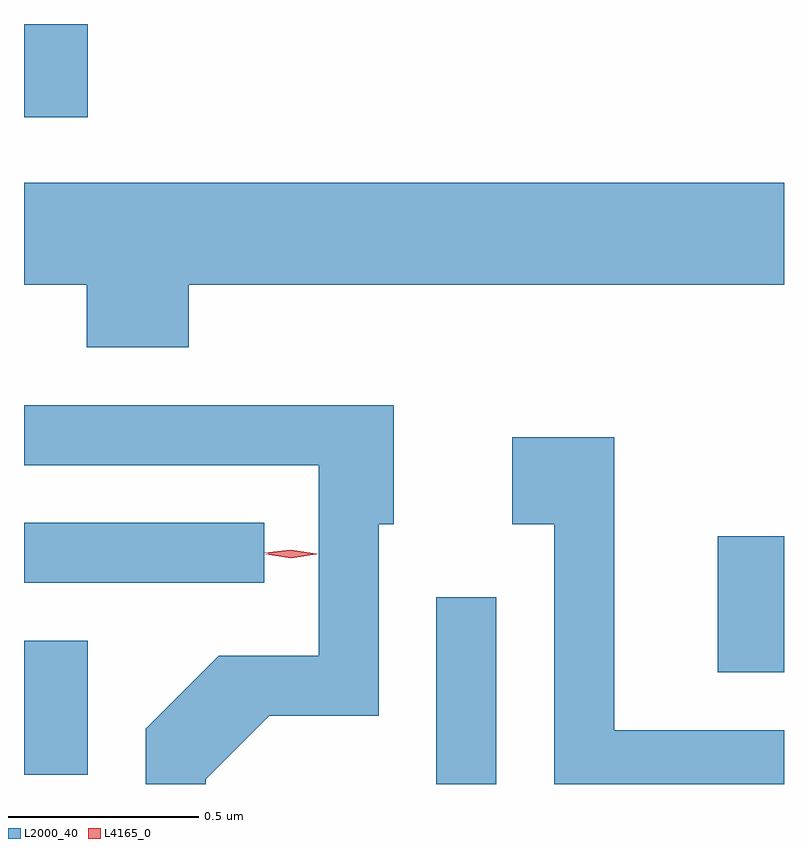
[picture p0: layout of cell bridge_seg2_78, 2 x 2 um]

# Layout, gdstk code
import gdstk
lib = gdstk.Library(unit=1e-6, precision=1e-09)
def R(c, l, rs):  # rectangles x0, y0, x1, y1
    for r in rs: c.add(gdstk.rectangle(r[:2], r[2:], *l))
def P(c, l, *ps):  # polygons
    for p in ps: c.add(gdstk.Polygon(p, *l))
L2000_40 = (2000, 40)
L4165_0 = (4165, 0)

bridge_seg2_78 = lib.new_cell('bridge_seg2_78')
R(bridge_seg2_78, L2000_40, [(1218.741,1066.982,1218.899,1067.473), (1217.656,1067.006,1217.824,1067.359), (1219.481,1067.276,1219.656,1067.634), (1217.656,1067.511,1218.288,1067.669), (1217.656,1068.736,1217.824,1068.982)])
P(bridge_seg2_78, L2000_40, [(1218.089,1068.296),(1219.656,1068.296),(1219.656,1068.564),(1217.656,1068.564),(1217.656,1068.296),(1217.821,1068.296),(1217.821,1068.131),(1218.089,1068.131)],
  [(1218.134,1066.994),(1218.302,1067.161),(1218.589,1067.161),(1218.589,1067.666),(1218.629,1067.666),(1218.629,1067.979),(1217.656,1067.979),(1217.656,1067.821),(1218.431,1067.821),(1218.431,1067.319),(1218.169,1067.319),(1217.976,1067.127),(1217.976,1066.982),(1218.134,1066.982)],
  [(1219.656,1067.124),(1219.209,1067.124),(1219.209,1067.894),(1218.941,1067.894),(1218.941,1067.666),(1219.051,1067.666),(1219.051,1066.982),(1219.656,1066.982)])
P(bridge_seg2_78, L4165_0, [(1218.359,1067.576),(1218.292,1067.586),(1218.292,1067.586),(1218.292,1067.587),(1218.359,1067.596),(1218.425,1067.587),(1218.426,1067.586),(1218.425,1067.586)],
  [(1218.358,1067.579),(1218.289,1067.59),(1218.289,1067.59),(1218.289,1067.59),(1218.358,1067.599),(1218.427,1067.588),(1218.428,1067.588),(1218.427,1067.587)])

lib.write_gds('bridge_seg2_78.gds')
